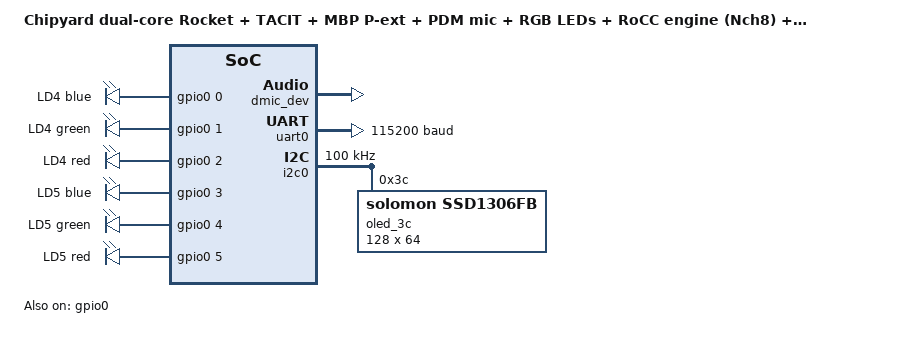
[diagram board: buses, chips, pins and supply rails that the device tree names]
/dts-v1/;

/*
 * 0x5A5A0036, variant `roccmoonnch8f40b98boled`, FCLK0 40 MHz.  Config
 * PynqZ2RocketBigLittlePextTacitMicRgbRoccMoonAllNch8I2cConfig (Lab B135).
 *
 * THE SMALLER SIBLING OF chipyard_pynqz1_panel_f40, and the difference is ONLY the four
 * buttons: this SoC's GPIO controller is six pins (the two RGB LEDs) as on 0x5A5A0035,
 * where the panel's is ten.  Everything else -- the TLI2C at 0x1004_0000, the OLED, the
 * microphone, the engine, the clock, the console -- is identical.
 *
 * READ chipyard_pynqz1_panel_f40.dts FOR THE REASONING.  Only the numbers that differ are
 * restated here; the panel file carries the pin table, the polarity evidence, the
 * deferred-init argument and the explanation of why a wrong interrupt number looks like a
 * dead board rather than a failure.
 *
 * THE NUMBERS, verified the same way -- from the boot ROM DTB compiled into this variant's
 * own gen-collateral (TLROM.sv, unpacked and run through `dtc -I dtb`), which is the
 * directory build_rocket_micrgb_roccmoonnch8f40b98boled_z1/proj/*.xpr names:
 *
 *     i2c@10040000                  interrupts = <0x01>;
 *     serial@10020000               interrupts = <0x02>;
 *     gpio@10010000                 interrupts = <0x03 0x04 0x05 0x06 0x07 0x08>;
 *     interrupt-controller@c000000  riscv,ndev = <0x08>;
 *
 * So the GPIO block here is numbered EXACTLY as chipyard_pynqz1_cam's -- 3..8 -- while the
 * panel's is 3..12.  The UART is 2 on all three.
 *
 * THE I2C PINS ARE THE SAME TWO BALLS: SCL = P16 (J6 "SCL"), SDA = P15 (J6 "SDA"), bank 34,
 * with the Z1's own 2.2 k pull-ups.  See the panel board's header for the header row and
 * where ground and 3V3 are.
 *
 * WHEN TO USE THIS BOARD RATHER THAN THE PANEL: only when the bitstream on the board is
 * 0x5A5A0036.  0x5A5A0037 is the deliverable of B135 and is a superset; this variant was
 * the step-1 fit probe and is kept because it is the machine to run if the buttons turn
 * out not to be wanted.  An image built for THIS board runs on 0x5A5A0037 unharmed (it
 * simply never configures pins 6..9), but an image built for the PANEL board and run on
 * 0x5A5A0036 would IRQ_CONNECT four PLIC sources the hardware does not have -- and only if
 * it enables CONFIG_INPUT, since nothing else touches the GPIO interrupts.  The MAGIC gate
 * is what actually keeps the pair apart; this note says which way the asymmetry runs.
 */

#include <zephyr/dt-bindings/gpio/gpio.h>
#include <chipyard/chipyard-riscv64.dtsi>

/ {
	model = "Chipyard dual-core Rocket + TACIT + MBP P-ext + PDM mic + RGB LEDs + RoCC engine (Nch8) + SSD1306 I2C (PYNQ-Z1, FCLK0 40 MHz)";
	compatible = "ucb-bar,chipyard-dev";

	chosen {
		zephyr,console = &uart0;
		zephyr,shell-uart = &uart0;
		zephyr,sram = &ram0;
	};

	soc {
		dmic_dev: pdm-mic@10090000 {
			compatible = "iiswc,pdm-mic";
			reg = <0x10090000 0x1000>;
			status = "okay";
		};

		gpio0: gpio@10010000 {
			compatible = "sifive,gpio0";
			reg = <0x10010000 0x1000>;
			reg-names = "control";
			interrupt-parent = <&plic>;
			/* the bootrom DTB's `interrupts = <3 4 5 6 7 8>` -- one higher than
			 * chipyard_pynqz1_micrgb_f40's 2..7, because the TLI2C took source 1 */
			interrupts = <3 1>, <4 1>, <5 1>, <6 1>, <7 1>, <8 1>;
			gpio-controller;
			#gpio-cells = <2>;
			ngpios = <6>;
			status = "okay";
		};
	};

	/* chipyard_pynqz1_micrgb_f40's six lamps, unchanged -- see that file and the panel
	 * board's header for the bit order and the active-high evidence. */
	rgbleds: rgbleds {
		compatible = "gpio-leds";
		ld4_blue:  ld4_blue  { gpios = <&gpio0 0 GPIO_ACTIVE_HIGH>; label = "LD4 blue";  };
		ld4_green: ld4_green { gpios = <&gpio0 1 GPIO_ACTIVE_HIGH>; label = "LD4 green"; };
		ld4_red:   ld4_red   { gpios = <&gpio0 2 GPIO_ACTIVE_HIGH>; label = "LD4 red";   };
		ld5_blue:  ld5_blue  { gpios = <&gpio0 3 GPIO_ACTIVE_HIGH>; label = "LD5 blue";  };
		ld5_green: ld5_green { gpios = <&gpio0 4 GPIO_ACTIVE_HIGH>; label = "LD5 green"; };
		ld5_red:   ld5_red   { gpios = <&gpio0 5 GPIO_ACTIVE_HIGH>; label = "LD5 red";   };
	};

	aliases {
		/* LOAD-BEARING: samples/mic_led_record and samples/moonshine_live reach the
		 * lamps only through these six names. */
		led0 = &ld4_blue;
		led1 = &ld4_green;
		led2 = &ld4_red;
		led3 = &ld5_blue;
		led4 = &ld5_green;
		led5 = &ld5_red;
		/* NO sw0..sw3 HERE, and that is the point of this board: this SoC has no
		 * button pins.  An application that wants a button must be built for
		 * chipyard_pynqz1_panel_f40, and DT_HAS_ALIAS/COND_CODE_1 on sw0 is how it
		 * can tell at compile time. */
	};
};

&uart0 {
	status = "okay";
	current-speed = <115200>;
	/* PLIC source 2, not 1: the TLI2C is 1 on this SoC.  A console that looks hung is
	 * what a wrong number here produces. */
	interrupts = <2 1>;
};

&i2c0 {
	status = "okay";
	/* source 1 in the bootrom DTB; the shared dtsi's <52 1> is another SoC's */
	interrupts = <1 1>;
	/* 100 kHz nominal.  The prescaler comes from SIFIVE_PERIPHERAL_CLOCK_FREQUENCY =
	 * 40,000,000 here, so the actual SCL rate is NOT docs/OLED_SSD1306.md 7.3's measured
	 * 112.69 kHz (that was a 34.4828 MHz pbus) and has not been measured at 40 MHz. */
	clock-frequency = <100000>;

	oled_3c: ssd1306@3c {
		compatible = "solomon,ssd1306fb";
		reg = <0x3c>;
		width = <128>;
		height = <64>;
		segment-offset = <0>;
		page-offset = <0>;
		display-offset = <0>;
		multiplex-ratio = <63>;
		segment-remap;
		com-invdir;
		prechargep = <0x22>;
		/* deferred: nothing touches the bus before an application asks.  See the
		 * panel board's header for why this is not optional. */
		zephyr,deferred-init;
	};
};

&htif {
	status = "disabled";
};

&flash0 {
	status = "disabled";
};
